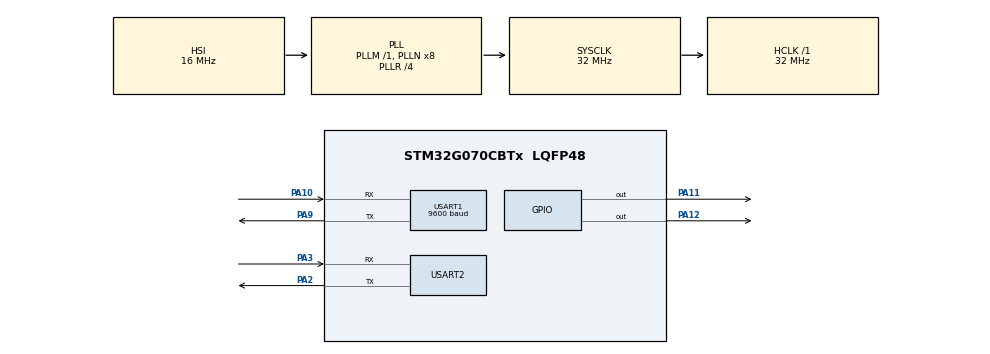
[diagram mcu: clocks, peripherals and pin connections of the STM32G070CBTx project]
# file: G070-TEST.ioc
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Mcu.Family=STM32G0
Mcu.Name=STM32G070CBTx
Mcu.Package=LQFP48
PA10.Mode=Asynchronous
PA10.Signal=USART1_RX
PA11\ [PA9].GPIO_PuPd=GPIO_PULLUP
PA11\ [PA9].Signal=GPIO_Output
PA12\ [PA10].GPIO_ModeDefaultOutputPP=GPIO_MODE_OUTPUT_PP
PA12\ [PA10].GPIO_PuPd=GPIO_PULLUP
PA12\ [PA10].Signal=GPIO_Output
PA13.Mode=Serial_Wire
PA13.Signal=SYS_SWDIO
PA14-BOOT0.Mode=Serial_Wire
PA14-BOOT0.Signal=SYS_SWCLK
PA2.Mode=Asynchronous
PA2.Signal=USART2_TX
PA3.Mode=Asynchronous
PA3.Signal=USART2_RX
PA9.Mode=Asynchronous
PA9.Signal=USART1_TX
PC14-OSC32_IN\ (PC14).Mode=LSE-External-Oscillator
PC14-OSC32_IN\ (PC14).Signal=RCC_OSC32_IN
PC15-OSC32_OUT\ (PC15).Mode=LSE-External-Oscillator
PC15-OSC32_OUT\ (PC15).Signal=RCC_OSC32_OUT
ProjectManager.HeapSize=0x200
ProjectManager.StackSize=0x400
ProjectManager.TargetToolchain=CMake
RCC.ADCFreq_Value=32000000
RCC.AHBFreq_Value=32000000
RCC.CortexFreq_Value=32000000
RCC.EXTERNAL_CLOCK_VALUE=48000
RCC.HCLKFreq_Value=32000000
RCC.HSE_VALUE=8000000
RCC.HSI_VALUE=16000000
RCC.PLLR=RCC_PLLR_DIV4
RCC.SYSCLKFreq_VALUE=32000000
RCC.SYSCLKSource=RCC_SYSCLKSOURCE_PLLCLK
RCC.VCOOutputFreq_Value=128000000
USART1.BaudRate=9600
USART1.VirtualMode-Asynchronous=VM_ASYNC
USART2.VirtualMode-Asynchronous=VM_ASYNC
board=custom

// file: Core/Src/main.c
/* USER CODE BEGIN Header */
/**
  ******************************************************************************
  * @file           : main.c
  * @brief          : Main program body
  ******************************************************************************
  * @attention
  *
  * Copyright (c) 2026 STMicroelectronics.
  * All rights reserved.
  *
  * This software is licensed under terms that can be found in the LICENSE file
  * in the root directory of this software component.
  * If no LICENSE file comes with this software, it is provided AS-IS.
  *
  ******************************************************************************
  */
/* USER CODE END Header */
#include "main.h"
#include "usart.h"
#include "gpio.h"

/* USER CODE BEGIN Includes */
#include <string.h>
#include <stdio.h>
#include <stdint.h>
#include "delay.h"
#include "cs100a.h"
#include "aht30.h"
#include "aht30_port.h"
/* USER CODE END Includes */

/* USER CODE BEGIN PV */
#define RX_BUF_SIZE 128
uint8_t rx_buf[RX_BUF_SIZE];   // 空闲中断接收缓冲区
volatile uint8_t rx_done = 0;   // 接收完成标志
volatile uint16_t rx_len = 0;   // 本次接收长度

AHT30_HandleTypeDef aht30_dev;
/* USER CODE END PV */

void SystemClock_Config(void);

/* USER CODE BEGIN 0 */
static int32_t float_to_x10(float value)
{
  if (value >= 0.0f)
  {
    return (int32_t)(value * 10.0f + 0.5f);
  }

  return (int32_t)(value * 10.0f - 0.5f);
}

static void format_fixed_1(char *out, int32_t value_x10)
{
  int32_t value_abs = value_x10;

  if (value_x10 < 0)
  {
    value_abs = -value_x10;
    sprintf(out, "-%ld.%ld", (long)(value_abs / 10), (long)(value_abs % 10));
  }
  else
  {
    sprintf(out, "%ld.%ld", (long)(value_abs / 10), (long)(value_abs % 10));
  }
}

static void format_json_number_or_null(char *out, float value, uint8_t valid)
{
  if (!valid)
  {
    strcpy(out, "null");
    return;
  }

  format_fixed_1(out, float_to_x10(value));
}

/**
  * @brief  空闲中断接收完成回调（不定长）
  */
void HAL_UARTEx_RxEventCallback(UART_HandleTypeDef *huart, uint16_t Size)
{
  if (huart->Instance == USART1)
  {
    rx_len = Size;
    rx_done = 1;
  }
}

/**
  * @brief  接收错误回调 — 重新启动接收
  */
void HAL_UART_ErrorCallback(UART_HandleTypeDef *huart)
{
  if (huart->Instance == USART1)
  {
    HAL_UARTEx_ReceiveToIdle_IT(&huart1, rx_buf, RX_BUF_SIZE);
  }
}
/* USER CODE END 0 */

int main(void)
{

  /* MCU Configuration--------------------------------------------------------*/

  /* Reset of all peripherals, Initializes the Flash interface and the Systick. */
  HAL_Init();

  /* Configure the system clock */
  SystemClock_Config();

  /* USER CODE BEGIN SysInit */
  SystemCoreClockUpdate();  /* Update SystemCoreClock after PLL config */

  /* USER CODE END SysInit */

  /* Initialize all configured peripherals */
  MX_GPIO_Init();
  MX_USART1_UART_Init();
  MX_USART2_UART_Init();
  /* USER CODE BEGIN 2 */
  CS100A_Init();
  CS100A_TIM_Init();
  AHT30_Port_Init();
  AHT30_Port_Bind(&aht30_dev);

  char *welcome = "CS100A + AHT30 JSON UART2 Ready\r\n";
  HAL_UART_Transmit(&huart1, (uint8_t *)welcome, strlen(welcome), 1000);

  if (AHT30_Init(&aht30_dev) == 0)
  {
    char *ok = "AHT30 Init OK\r\n";
    HAL_UART_Transmit(&huart1, (uint8_t *)ok, strlen(ok), 1000);
  }
  else
  {
    char *fail = "AHT30 Init FAIL\r\n";
    HAL_UART_Transmit(&huart1, (uint8_t *)fail, strlen(fail), 1000);
  }

  // 打印系统时钟频率
  {
    char clk_buf[40];
    int clk_len = sprintf(clk_buf, "SYSCLK: %d Hz\r\n", (int)SystemCoreClock);
    HAL_UART_Transmit(&huart1, (uint8_t *)clk_buf, clk_len, 200);
  }
  /* USER CODE END 2 */

  /* Infinite loop */
  /* USER CODE BEGIN WHILE */
  while (1)
  {
    char json_buf[256];
    char distance_str[16];
    char temp_str[16];
    char humi_str[16];
    int len;
    float distance = CS100A_Get();
    uint8_t distance_valid = (distance >= 0.0f);
    uint8_t aht30_valid;

    if (!aht30_dev.initialized)
    {
      AHT30_Init(&aht30_dev);
    }

    aht30_valid = (AHT30_ReadMeasure(&aht30_dev) == 0);
    if (!aht30_valid)
    {
      aht30_dev.initialized = 0;
    }

    format_json_number_or_null(distance_str, distance, distance_valid);
    format_json_number_or_null(temp_str, aht30_dev.temperature, aht30_valid);
    format_json_number_or_null(humi_str, aht30_dev.humidity, aht30_valid);

    // 模拟传感器数据（随机值）
    float simulated_light = (float)(HAL_GetTick() % 1000) / 10.0f;  // 0.0-99.9
    char light_str[16];
    format_fixed_1(light_str, float_to_x10(simulated_light));

    len = sprintf(json_buf,
                  "{\"deviceNAME\":\"智慧家居\",\"mcuNAME\":\"STM32\",\"sendTarget\":\"ALL\",\"data\":{\"distance\":%s,\"temperature\":%s,\"humidity\":%s,\"light\":%s}}\r\n",
                  distance_str,
                  temp_str,
                  humi_str,
                  light_str);

    // LED 闪烁表示程序运行中
    HAL_GPIO_TogglePin(GPIOA, GPIO_PIN_11);
    HAL_GPIO_TogglePin(GPIOA, GPIO_PIN_12);
    HAL_UART_Transmit(&huart2, (uint8_t *)json_buf, len, 1000);
    HAL_UART_Transmit(&huart1, (uint8_t *)json_buf, len, 1000);
    HAL_Delay(1000);
  }
    /* USER CODE END WHILE */

}

void SystemClock_Config(void)
{
  RCC_OscInitTypeDef RCC_OscInitStruct = {0};
  RCC_ClkInitTypeDef RCC_ClkInitStruct = {0};

  /** Configure the main internal regulator output voltage
  */
  HAL_PWREx_ControlVoltageScaling(PWR_REGULATOR_VOLTAGE_SCALE1);

  /** Initializes the RCC Oscillators according to the specified parameters
  * in the RCC_OscInitTypeDef structure.
  */
  RCC_OscInitStruct.OscillatorType = RCC_OSCILLATORTYPE_HSI;
  RCC_OscInitStruct.HSIState = RCC_HSI_ON;
  RCC_OscInitStruct.HSIDiv = RCC_HSI_DIV1;
  RCC_OscInitStruct.HSICalibrationValue = RCC_HSICALIBRATION_DEFAULT;
  RCC_OscInitStruct.PLL.PLLState = RCC_PLL_ON;
  RCC_OscInitStruct.PLL.PLLSource = RCC_PLLSOURCE_HSI;
  RCC_OscInitStruct.PLL.PLLM = RCC_PLLM_DIV1;
  RCC_OscInitStruct.PLL.PLLN = 8;
  RCC_OscInitStruct.PLL.PLLP = RCC_PLLP_DIV2;
  RCC_OscInitStruct.PLL.PLLR = RCC_PLLR_DIV4;
  if (HAL_RCC_OscConfig(&RCC_OscInitStruct) != HAL_OK)
  {
    Error_Handler();
  }

  /** Initializes the CPU, AHB and APB buses clocks
  */
  RCC_ClkInitStruct.ClockType = RCC_CLOCKTYPE_HCLK|RCC_CLOCKTYPE_SYSCLK
                              |RCC_CLOCKTYPE_PCLK1;
  RCC_ClkInitStruct.SYSCLKSource = RCC_SYSCLKSOURCE_PLLCLK;
  RCC_ClkInitStruct.AHBCLKDivider = RCC_SYSCLK_DIV1;
  RCC_ClkInitStruct.APB1CLKDivider = RCC_HCLK_DIV1;

  if (HAL_RCC_ClockConfig(&RCC_ClkInitStruct, FLASH_LATENCY_1) != HAL_OK)
  {
    Error_Handler();
  }
}

void Error_Handler(void)
{
  /* USER CODE BEGIN Error_Handler_Debug */
  GPIO_InitTypeDef GPIO_InitStruct = {0};

  __HAL_RCC_GPIOA_CLK_ENABLE();
  GPIO_InitStruct.Pin = GPIO_PIN_11|GPIO_PIN_12;
  GPIO_InitStruct.Mode = GPIO_MODE_OUTPUT_PP;
  GPIO_InitStruct.Pull = GPIO_NOPULL;
  GPIO_InitStruct.Speed = GPIO_SPEED_FREQ_LOW;
  HAL_GPIO_Init(GPIOA, &GPIO_InitStruct);

  while (1)
  {
    HAL_GPIO_TogglePin(GPIOA, GPIO_PIN_11);
    HAL_GPIO_TogglePin(GPIOA, GPIO_PIN_12);
    for (volatile uint32_t i = 0; i < 1000000U; i++)
    {
      __NOP();
    }
  }
  /* USER CODE END Error_Handler_Debug */
}
